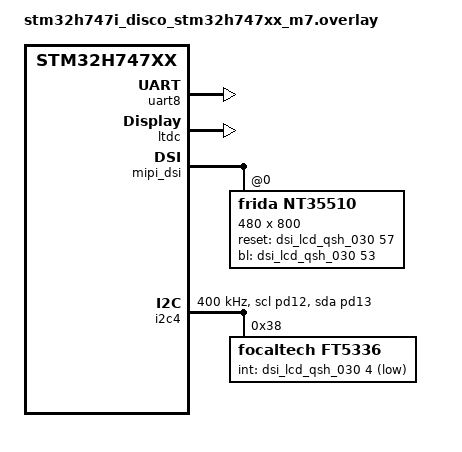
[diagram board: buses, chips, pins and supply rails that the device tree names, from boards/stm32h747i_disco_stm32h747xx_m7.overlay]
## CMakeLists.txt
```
cmake_minimum_required(VERSION 3.20.0)
find_package(Zephyr REQUIRED HINTS $ENV{ZEPHYR_BASE})

project(grvl-demo)

target_sources(app PRIVATE src/grvl.cpp)

if(CONFIG_SDCARD_IMAGE)
  find_program(MKE2FS NAMES mke2fs mkfs.ext2 REQUIRED)
  find_program(TRUNCATE NAMES truncate REQUIRED)

  set(SDCARD_GENSCRIPT ${CMAKE_CURRENT_SOURCE_DIR}/scripts/sdcard.sh)
  set(SDCARD_IMG_NAME zephyr.sdcard.img)
  set(SDCARD_IMG_FILE ${APPLICATION_BINARY_DIR}/zephyr/${SDCARD_IMG_NAME})

  file(GLOB_RECURSE ROMFS_FILES CONFIGURE_DEPENDS
       "${CMAKE_CURRENT_SOURCE_DIR}/romfs/*")

  add_custom_command(
    OUTPUT ${SDCARD_IMG_FILE}
    COMMAND ${SDCARD_GENSCRIPT} ${CONFIG_SDCARD_IMAGE_SIZE}
            ${CMAKE_CURRENT_SOURCE_DIR}/romfs ${APPLICATION_BINARY_DIR}
    DEPENDS ${SDCARD_GENSCRIPT} ${ROMFS_FILES}
    COMMENT "Generating SD card image ${SDCARD_IMG_NAME}")

  add_custom_target(sdcard DEPENDS ${SDCARD_IMG_FILE})

  add_dependencies(app sdcard)
endif() # CONFIG_SDCARD_IMAGE
```

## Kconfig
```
source "Kconfig.zephyr"

menu "Application Options"

module = APP
module-str = App
source "subsys/logging/Kconfig.template.log_config"

config SDCARD_IMAGE
	bool "Generate SD card image"
	help
	  Generate an sdcard image with ext2 filesystem using contents of romfs

if SDCARD_IMAGE

config SDCARD_IMAGE_SIZE
	int "Image size"
	default 8
	help
	  Defines generated sdcard image size (in MB)

endif # SDCARD_IMAGE

endmenu # Application Options
```

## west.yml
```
manifest:
  remotes:
    - name: zephyrproject-rtos
      url-base: https://github.com/zephyrproject-rtos
    - name: antmicro
      url-base: https://github.com/antmicro
  projects:
    - name: zephyr
      remote: zephyrproject-rtos
      revision: 3a6406439c5a7c55e932df21df4aa290e0fb7751
      import:
        name-allowlist:
          - cmsis_6
          - hal_stm32
    - name: grvl
      path: modules/grvl
      remote: antmicro
      revision: 074bc6685f5592152e707af35684387d84196383
```

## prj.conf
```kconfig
CONFIG_COMMON_LIBC_MALLOC=y
CONFIG_POSIX_THREADS=y
CONFIG_POSIX_FILE_SYSTEM=y
CONFIG_INPUT=y
CONFIG_INPUT_QUEUE_MAX_MSGS=128
CONFIG_COMMON_LIBC_MALLOC_ARENA_SIZE=3700000
CONFIG_LOG=y
CONFIG_CONSOLE=y
CONFIG_DISPLAY=y
CONFIG_LOG_MODE_DEFERRED=y
CONFIG_LOG_INFO_COLOR_GREEN=y

# C++
CONFIG_CPP_RTTI=y
CONFIG_STD_CPP23=y
CONFIG_REQUIRES_FULL_LIBCPP=y
```

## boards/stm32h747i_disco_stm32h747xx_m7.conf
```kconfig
CONFIG_POSIX_API=y
CONFIG_POSIX_DEVICE_IO=y
CONFIG_POSIX_FD_MGMT=y
CONFIG_ZVFS_OPEN_MAX=16
CONFIG_SDCARD_IMAGE=y
CONFIG_FILE_SYSTEM_EXT2=y
CONFIG_DISK_ACCESS=y
CONFIG_MEMC=y
CONFIG_STM32_LTDC_RGB565=y
CONFIG_DISPLAY_LOG_LEVEL_WRN=y
CONFIG_DISPLAY_NT35510_INIT_PRIORITY=87
```

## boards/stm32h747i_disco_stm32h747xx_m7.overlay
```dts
#include <zephyr/dt-bindings/display/panel.h>
#include <zephyr/dt-bindings/gpio/gpio.h>
#include <zephyr/dt-bindings/i2c/i2c.h>
#include <zephyr/dt-bindings/memory-attr/memory-attr-arm.h>
#include <zephyr/dt-bindings/mipi_dsi/mipi_dsi.h>

/ {
	chosen {
		zephyr,display = &ltdc;
		zephyr,touch = &ft5336;
		zephyr,console = &uart8;
	};
};

&uart8 {
	status = "okay";
};

&sdram2 {
	/* Frame buffer memory cache will cause screen flickering. */
	zephyr,memory-attr = <( DT_MEM_ARM(ATTR_MPU_RAM_NOCACHE) )>;
};

&ltdc {
	status = "okay";
	ext-sdram = <&sdram2>;
	width = <800>;
	height = <480>;
	def-back-color-red = <0>;
	def-back-color-green = <0>;
	def-back-color-blue = <0>;
	pixel-format = <PANEL_PIXEL_FORMAT_RGB_565>;

	/* frida, nt35510 */
	display-timings {
		compatible = "zephyr,panel-timing";
		hsync-active = <0>;
		vsync-active = <0>;
		de-active = <0>;
		pixelclk-active = <0>;
		hsync-len = <2>;
		vsync-len = <120>;
		hback-porch = <34>;
		vback-porch = <150>;
		hfront-porch = <34>;
		vfront-porch = <150>;
	};
};

/* ltdc uses pll3_r as pixel clock */
&pll3 {
	status = "okay";
	clocks = <&clk_hse>;
	div-m = <5>;
	mul-n = <132>;
	div-p = <2>;
	div-q = <2>;
	div-r = <24>; /* 27.5 MHz */
};

&mipi_dsi {
	status = "okay";

	/* DSI HOST dedicated PLL
	 * F_VCO = CLK_IN / pll-idf * 2 * pll-ndiv
	 * PHI = F_VCO / 2 / (1 << pll-odf) = lane_byte_clk
	 *     = 25 MHz / 5 * 2 * 100 / 2 / (1<<0) / 8 = 62.5 MHz
	 */
	pll-ndiv = <100>;
	pll-idf = <5>;
	pll-odf = <0>;

	vs-active-high;
	hs-active-high;
	de-active-high;

	loosely-packed;
	largest-packet-size = <64>;
	bta-ack-disable;

	nt35510: nt35510@0 {
		status = "okay";
		compatible = "frida,nt35510";
		reg = <0x0>;
		height = <800>;
		width = <480>;
		reset-gpios = <&dsi_lcd_qsh_030 57 GPIO_ACTIVE_HIGH>;
		bl-gpios = <&dsi_lcd_qsh_030 53 GPIO_ACTIVE_HIGH>;
		data-lanes = <2>;
		pixel-format = <MIPI_DSI_PIXFMT_RGB565>;
		rotation = <90>;
	};
};

&i2c4 {
	pinctrl-0 = <&i2c4_scl_pd12 &i2c4_sda_pd13>;
	pinctrl-names = "default";
	clock-frequency = <I2C_BITRATE_FAST>;
	status = "okay";

	ft5336: ft5336@38 {
		compatible = "focaltech,ft5336";
		reg = <0x38>;
		int-gpios = <&dsi_lcd_qsh_030 4 GPIO_ACTIVE_LOW>;
		inverted-y;
		screen-width = <800>;
		screen-height = <480>;
	};
};
```

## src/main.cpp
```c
#include <zephyr/kernel.h>

int main(void)
{
	printk("Hello\n");
	return 0;
}
```

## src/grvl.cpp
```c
#include <algorithm>
#include <cstdint>
#include <cstdlib>
#include <ctime>
#include <filesystem>

#include <zephyr/device.h>
#include <zephyr/devicetree.h>
#include <zephyr/drivers/display.h>
#include <zephyr/kernel.h>
#include <zephyr/logging/log.h>
#include <zephyr/sys/errno_private.h>
#include <zephyr/sys/util.h>
#include <zephyr/toolchain.h>

#include <grvl/platform/ZephyrApp.h>

#include <grvl/grvl.h>
#include <grvl/JSEngine.h>
#include <grvl/Manager.h>
#include <grvl/Misc.h>

#include <grvl/component/Label.h>
#include <grvl/container/Division.h>
#include <grvl/container/ListView.h>
#include <grvl/container/ScrollPanel.h>

LOG_MODULE_REGISTER(calendar, CONFIG_APP_LOG_LEVEL);

namespace fs = std::filesystem;

static constexpr auto GRVL_THRD_STACK_SIZE = KB(10);
static constexpr auto GRVL_THRD_PRIORITY = 1;
static constexpr auto TARGET_FRAMERATE = 30;

K_TIMER_DEFINE(refresh_rate_timer, nullptr, nullptr);

#if defined(CONFIG_BOARD_STM32H747I_DISCO)
#include <zephyr/fs/ext2.h>
#include <zephyr/fs/fs.h>

static constexpr auto ROMFS_PATH = "/romfs";

static int setup_romfs()
{
	int rc;
	static struct fs_mount_t mount;

	// this struct needs to stay static - it must not go out of scope
	// while we are still using the filesystem.
	mount.type = FS_EXT2;
	mount.mnt_point = ROMFS_PATH;
	mount.storage_dev = (void*) "SD";
	mount.flags = FS_MOUNT_FLAG_NO_FORMAT | FS_MOUNT_FLAG_READ_ONLY;

	if (rc = fs_mount(&mount)) {
		LOG_ERR("Failed to mount sdcard (err: %d)", rc);
	}
	return rc;
}

static fs::path get_romfs_path()
{
	return fs::path(ROMFS_PATH);
}
#endif

#if defined(CONFIG_BOARD_NATIVE_SIM)
static int setup_romfs()
{
    return 0;
}

static fs::path get_romfs_path()
{
	char *envval = std::getenv("ROMFS_PATH");
	if (envval) {
		return fs::absolute(fs::path(envval));
	}
	return fs::absolute("romfs");
}

#endif

static void load_fonts(fs::path &rpath, grvl::Manager &manager)
{
	auto font = [&](const char *path) {
		return new grvl::GrvlBakedFont((rpath / path).string().c_str());
	};

	LOG_DBG("Loading fonts");

	auto mona10 = font("fonts/mona10.gbf");

	manager.AddFontToFontContainer("normal", mona10);
	manager.AddFontToFontContainer("mona10", mona10);
	manager.AddFontToFontContainer("mona12", font("fonts/mona12.gbf"));
	manager.AddFontToFontContainer("mona14", font("fonts/mona14.gbf"));
	manager.AddFontToFontContainer("mona16", font("fonts/mona16.gbf"));
}

static void load_images(fs::path &rpath, grvl::Manager &manager)
{
	auto image = [&](const char *path) {
		return new grvl::ImageContent((rpath / path).c_str(), grvl::Format::AL44);
	};

	LOG_DBG("Loading images");
	manager.AddImageContentToContainer("dots", image("images/dots.png"));
	manager.AddImageContentToContainer("light_gray_left_vector", image("images/light_gray_left_vector.png"));
	manager.AddImageContentToContainer("light_gray_right_vector", image("images/light_gray_right_vector.png"));
	manager.AddImageContentToContainer("signal", image("images/signal.png"));
	manager.AddImageContentToContainer("wifi", image("images/wifi.png"));
	manager.AddImageContentToContainer("battery", image("images/battery.png"));
}

static void grvl_thread(void *a1, void *a2, void *a3)
{
	const device* display = DEVICE_DT_GET(DT_CHOSEN(zephyr_display));

	setup_romfs();

	grvl::ZephyrApp app {display};
	grvl::Application::Init(&app);

	auto mgr = &grvl::Manager::GetInstance();

	// configure application
	fs::path romfs_path = get_romfs_path();

	grvl::JSEngine::SetSourceCodeWorkingDirectory(romfs_path.string());

	load_fonts(romfs_path, *mgr);
	load_images(romfs_path, *mgr);

	mgr->BuildFromXML((romfs_path / "gui.xml").string().c_str());
	mgr->InitializationFinished();
	mgr->SetActiveScreen("home", 0);

	grvl::JSEngine::MakeJavaScriptFunctionCall("InitializeCalendar");

	LOG_INF("Ready to draw");

	while (true) {
		k_timer_start(&refresh_rate_timer, K_MSEC(DIV_ROUND_CLOSEST(1000, TARGET_FRAMERATE)), K_NO_WAIT);

		grvl::JSEngine::MakeJavaScriptFunctionCall("UpdateCurrentTime");
		grvl::JSEngine::MakeJavaScriptFunctionCall("UpdatePositionOfCurrentTimeLine");

		app.Render();
		app.Swap();
		app.Poll();

		k_timer_status_sync(&refresh_rate_timer);
	}

	LOG_ERR("How did we get here?");
	k_sleep(K_FOREVER);
}

K_THREAD_DEFINE(grvl_tid, GRVL_THRD_STACK_SIZE, grvl_thread, nullptr, nullptr, nullptr, GRVL_THRD_PRIORITY, 0, 0);
```
